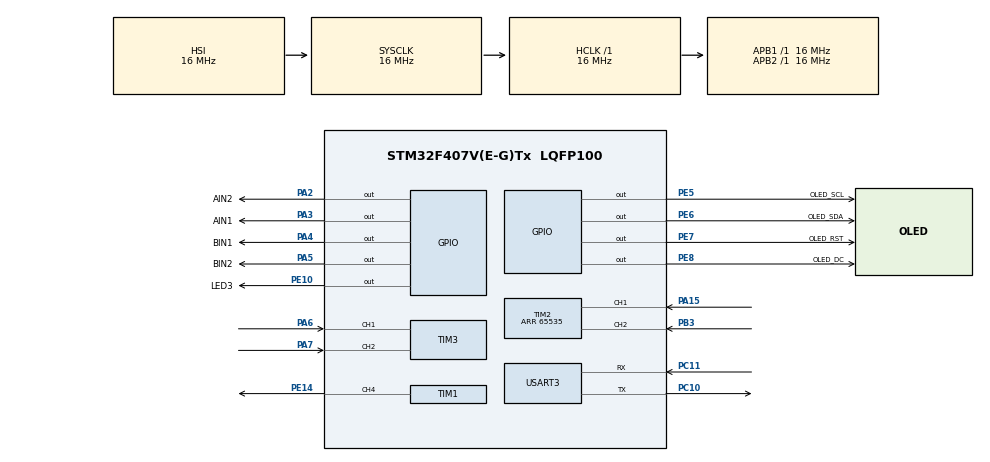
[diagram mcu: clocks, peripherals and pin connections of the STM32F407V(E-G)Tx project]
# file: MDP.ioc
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FREERTOS.Tasks01=defaultTask,24,128,StartDefaultTask,Default,NULL,Dynamic,NULL,NULL;show,8,128,showMsg,Default,NULL,Dynamic,NULL,NULL;MotorTask,8,128,motors,Default,NULL,Dynamic,NULL,NULL;EncoderTask,8,128,encoder,Default,NULL,Dynamic,NULL,NULL
Mcu.Family=STM32F4
Mcu.Name=STM32F407V(E-G)Tx
Mcu.Package=LQFP100
NVIC.PriorityGroup=NVIC_PRIORITYGROUP_4
NVIC.USART3_IRQn=true\:5\:0\:false\:false\:true\:true\:true\:true\:true
PA15.Signal=S_TIM2_CH1_ETR
PA2.GPIO_Label=AIN2
PA2.GPIO_Speed=GPIO_SPEED_FREQ_HIGH
PA2.Signal=GPIO_Output
PA3.GPIO_Label=AIN1
PA3.GPIO_Speed=GPIO_SPEED_FREQ_HIGH
PA3.Signal=GPIO_Output
PA4.GPIO_Label=BIN1
PA4.Signal=GPIO_Output
PA5.GPIO_Label=BIN2
PA5.Signal=GPIO_Output
PA6.Signal=S_TIM3_CH1
PA7.Signal=S_TIM3_CH2
PB3.Signal=S_TIM2_CH2
PC10.Mode=Asynchronous
PC10.Signal=USART3_TX
PC11.Mode=Asynchronous
PC11.Signal=USART3_RX
PC6.GPIO_Label=PWMA
PC6.Signal=S_TIM8_CH1
PC7.GPIO_Label=PWMB
PC7.Signal=S_TIM8_CH2
PE10.GPIO_Label=LED3
PE10.Signal=GPIO_Output
PE14.Signal=S_TIM1_CH4
PE5.GPIO_Label=OLED_SCL
PE5.Signal=GPIO_Output
PE6.GPIO_Label=OLED_SDA
PE6.Signal=GPIO_Output
PE7.GPIO_Label=OLED_RST
PE7.Signal=GPIO_Output
PE8.GPIO_Label=OLED_DC
PE8.Signal=GPIO_Output
ProjectManager.HeapSize=0x200
ProjectManager.StackSize=0x400
ProjectManager.TargetToolchain=STM32CubeIDE
RCC.AHBFreq_Value=16000000
RCC.APB1Freq_Value=16000000
RCC.APB2Freq_Value=16000000
RCC.CortexFreq_Value=16000000
RCC.HSE_VALUE=25000000
RCC.HSI_VALUE=16000000
RCC.LSE_VALUE=32768
RCC.SYSCLKFreq_VALUE=16000000
RCC.VCOOutputFreq_Value=192000000
SH.S_TIM1_CH4.0=TIM1_CH4,PWM Generation4 CH4
SH.S_TIM2_CH1_ETR.0=TIM2_CH1,Encoder_Interface
SH.S_TIM2_CH2.0=TIM2_CH2,Encoder_Interface
SH.S_TIM3_CH1.0=TIM3_CH1,Encoder_Interface
SH.S_TIM3_CH2.0=TIM3_CH2,Encoder_Interface
SH.S_TIM8_CH1.0=TIM8_CH1
SH.S_TIM8_CH2.0=TIM8_CH2
TIM1.Channel-PWM\ Generation4\ CH4=TIM_CHANNEL_4
TIM1.Period=1000
TIM1.Prescaler=160
TIM2.EncoderMode=TIM_ENCODERMODE_TI12
TIM2.IC1Filter=10
TIM2.Period=65535
TIM3.EncoderMode=TIM_ENCODERMODE_TI12
TIM3.IC1Filter=10
TIM3.IC2Filter=10
TIM8.Channel-PWM\ Generation1\ No\ Output=TIM_CHANNEL_1
TIM8.Channel-PWM\ Generation2\ No\ Output=TIM_CHANNEL_2
TIM8.Period=7199
USART3.VirtualMode=VM_ASYNC
VP_FREERTOS_VS_CMSIS_V2.Mode=CMSIS_V2
VP_TIM1_VS_ClockSourceINT.Mode=Internal
VP_TIM8_VS_ClockSourceINT.Mode=Internal
VP_TIM8_VS_no_output1.Mode=PWM Generation1 No Output
VP_TIM8_VS_no_output2.Mode=PWM Generation2 No Output
board=custom

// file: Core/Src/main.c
/* USER CODE BEGIN Header */
/**
  ******************************************************************************
  * @file           : main.c
  * @brief          : Main program body
  ******************************************************************************
  * @attention
  *
  * Copyright (c) 2024 STMicroelectronics.
  * All rights reserved.
  *
  * This software is licensed under terms that can be found in the LICENSE file
  * in the root directory of this software component.
  * If no LICENSE file comes with this software, it is provided AS-IS.
  *
  ******************************************************************************
  */
/* USER CODE END Header */
#include "main.h"
#include "cmsis_os.h"

/* USER CODE BEGIN Includes */
#include "oled.h"
/* USER CODE END Includes */

TIM_HandleTypeDef htim1;
TIM_HandleTypeDef htim2;
TIM_HandleTypeDef htim3;
TIM_HandleTypeDef htim8;

UART_HandleTypeDef huart3;

/* Definitions for defaultTask */
osThreadId_t defaultTaskHandle;
const osThreadAttr_t defaultTask_attributes = {
  .name = "defaultTask",
  .stack_size = 128 * 4,
  .priority = (osPriority_t) osPriorityNormal,
};
/* Definitions for show */
osThreadId_t showHandle;
const osThreadAttr_t show_attributes = {
  .name = "show",
  .stack_size = 128 * 4,
  .priority = (osPriority_t) osPriorityLow,
};
/* Definitions for MotorTask */
osThreadId_t MotorTaskHandle;
const osThreadAttr_t MotorTask_attributes = {
  .name = "MotorTask",
  .stack_size = 128 * 4,
  .priority = (osPriority_t) osPriorityLow,
};
/* Definitions for EncoderTask */
osThreadId_t EncoderTaskHandle;
const osThreadAttr_t EncoderTask_attributes = {
  .name = "EncoderTask",
  .stack_size = 128 * 4,
  .priority = (osPriority_t) osPriorityLow,
};

void SystemClock_Config(void);
static void MX_GPIO_Init(void);
static void MX_TIM8_Init(void);
static void MX_TIM2_Init(void);
static void MX_TIM3_Init(void);
static void MX_USART3_UART_Init(void);
static void MX_TIM1_Init(void);
void StartDefaultTask(void *argument);
void showMsg(void *argument);
void motors(void *argument);
void encoder(void *argument);

/* USER CODE BEGIN 0 */
uint8_t aRxBuffer[20];
/* USER CODE END 0 */

int main(void)
{

  /* MCU Configuration--------------------------------------------------------*/

  /* Reset of all peripherals, Initializes the Flash interface and the Systick. */
  HAL_Init();

  /* Configure the system clock */
  SystemClock_Config();

  /* Initialize all configured peripherals */
  MX_GPIO_Init();
  MX_TIM8_Init();
  MX_TIM2_Init();
  MX_TIM3_Init();
  MX_USART3_UART_Init();
  MX_TIM1_Init();
  /* USER CODE BEGIN 2 */
  OLED_Init();

  HAL_UART_Receive_IT(&huart3, (uint8_t *)aRxBuffer, 10);
  //HAL_UART_Transmit_IT(&huart3, (uint8_t *)aRxBuffer, 10);
  /* USER CODE END 2 */

  /* Init scheduler */
  osKernelInitialize();

  /* Create the thread(s) */
  /* creation of defaultTask */
  defaultTaskHandle = osThreadNew(StartDefaultTask, NULL, &defaultTask_attributes);

  /* creation of show */
  showHandle = osThreadNew(showMsg, NULL, &show_attributes);

  /* creation of MotorTask */
  MotorTaskHandle = osThreadNew(motors, NULL, &MotorTask_attributes);

  /* creation of EncoderTask */
  EncoderTaskHandle = osThreadNew(encoder, NULL, &EncoderTask_attributes);

  /* Start scheduler */
  osKernelStart();

  /* We should never get here as control is now taken by the scheduler */
  /* Infinite loop */
  while (1)
  {

  }
}

void SystemClock_Config(void)
{
  RCC_OscInitTypeDef RCC_OscInitStruct = {0};
  RCC_ClkInitTypeDef RCC_ClkInitStruct = {0};

  /** Configure the main internal regulator output voltage
  */
  __HAL_RCC_PWR_CLK_ENABLE();
  __HAL_PWR_VOLTAGESCALING_CONFIG(PWR_REGULATOR_VOLTAGE_SCALE1);

  /** Initializes the RCC Oscillators according to the specified parameters
  * in the RCC_OscInitTypeDef structure.
  */
  RCC_OscInitStruct.OscillatorType = RCC_OSCILLATORTYPE_HSI;
  RCC_OscInitStruct.HSIState = RCC_HSI_ON;
  RCC_OscInitStruct.HSICalibrationValue = RCC_HSICALIBRATION_DEFAULT;
  RCC_OscInitStruct.PLL.PLLState = RCC_PLL_NONE;
  if (HAL_RCC_OscConfig(&RCC_OscInitStruct) != HAL_OK)
  {
    Error_Handler();
  }

  /** Initializes the CPU, AHB and APB buses clocks
  */
  RCC_ClkInitStruct.ClockType = RCC_CLOCKTYPE_HCLK|RCC_CLOCKTYPE_SYSCLK
                              |RCC_CLOCKTYPE_PCLK1|RCC_CLOCKTYPE_PCLK2;
  RCC_ClkInitStruct.SYSCLKSource = RCC_SYSCLKSOURCE_HSI;
  RCC_ClkInitStruct.AHBCLKDivider = RCC_SYSCLK_DIV1;
  RCC_ClkInitStruct.APB1CLKDivider = RCC_HCLK_DIV1;
  RCC_ClkInitStruct.APB2CLKDivider = RCC_HCLK_DIV1;

  if (HAL_RCC_ClockConfig(&RCC_ClkInitStruct, FLASH_LATENCY_0) != HAL_OK)
  {
    Error_Handler();
  }
}

static void MX_TIM1_Init(void)
{

  TIM_ClockConfigTypeDef sClockSourceConfig = {0};
  TIM_MasterConfigTypeDef sMasterConfig = {0};
  TIM_OC_InitTypeDef sConfigOC = {0};
  TIM_BreakDeadTimeConfigTypeDef sBreakDeadTimeConfig = {0};

  htim1.Instance = TIM1;
  htim1.Init.Prescaler = 160;
  htim1.Init.CounterMode = TIM_COUNTERMODE_UP;
  htim1.Init.Period = 1000;
  htim1.Init.ClockDivision = TIM_CLOCKDIVISION_DIV1;
  htim1.Init.RepetitionCounter = 0;
  htim1.Init.AutoReloadPreload = TIM_AUTORELOAD_PRELOAD_DISABLE;
  if (HAL_TIM_Base_Init(&htim1) != HAL_OK)
  {
    Error_Handler();
  }
  sClockSourceConfig.ClockSource = TIM_CLOCKSOURCE_INTERNAL;
  if (HAL_TIM_ConfigClockSource(&htim1, &sClockSourceConfig) != HAL_OK)
  {
    Error_Handler();
  }
  if (HAL_TIM_PWM_Init(&htim1) != HAL_OK)
  {
    Error_Handler();
  }
  sMasterConfig.MasterOutputTrigger = TIM_TRGO_RESET;
  sMasterConfig.MasterSlaveMode = TIM_MASTERSLAVEMODE_DISABLE;
  if (HAL_TIMEx_MasterConfigSynchronization(&htim1, &sMasterConfig) != HAL_OK)
  {
    Error_Handler();
  }
  sConfigOC.OCMode = TIM_OCMODE_PWM1;
  sConfigOC.Pulse = 0;
  sConfigOC.OCPolarity = TIM_OCPOLARITY_HIGH;
  sConfigOC.OCFastMode = TIM_OCFAST_DISABLE;
  sConfigOC.OCIdleState = TIM_OCIDLESTATE_RESET;
  sConfigOC.OCNIdleState = TIM_OCNIDLESTATE_RESET;
  if (HAL_TIM_PWM_ConfigChannel(&htim1, &sConfigOC, TIM_CHANNEL_4) != HAL_OK)
  {
    Error_Handler();
  }
  sBreakDeadTimeConfig.OffStateRunMode = TIM_OSSR_DISABLE;
  sBreakDeadTimeConfig.OffStateIDLEMode = TIM_OSSI_DISABLE;
  sBreakDeadTimeConfig.LockLevel = TIM_LOCKLEVEL_OFF;
  sBreakDeadTimeConfig.DeadTime = 0;
  sBreakDeadTimeConfig.BreakState = TIM_BREAK_DISABLE;
  sBreakDeadTimeConfig.BreakPolarity = TIM_BREAKPOLARITY_HIGH;
  sBreakDeadTimeConfig.AutomaticOutput = TIM_AUTOMATICOUTPUT_DISABLE;
  if (HAL_TIMEx_ConfigBreakDeadTime(&htim1, &sBreakDeadTimeConfig) != HAL_OK)
  {
    Error_Handler();
  }
  HAL_TIM_MspPostInit(&htim1);

}

static void MX_TIM2_Init(void)
{

  TIM_Encoder_InitTypeDef sConfig = {0};
  TIM_MasterConfigTypeDef sMasterConfig = {0};

  htim2.Instance = TIM2;
  htim2.Init.Prescaler = 0;
  htim2.Init.CounterMode = TIM_COUNTERMODE_UP;
  htim2.Init.Period = 65535;
  htim2.Init.ClockDivision = TIM_CLOCKDIVISION_DIV1;
  htim2.Init.AutoReloadPreload = TIM_AUTORELOAD_PRELOAD_DISABLE;
  sConfig.EncoderMode = TIM_ENCODERMODE_TI12;
  sConfig.IC1Polarity = TIM_ICPOLARITY_RISING;
  sConfig.IC1Selection = TIM_ICSELECTION_DIRECTTI;
  sConfig.IC1Prescaler = TIM_ICPSC_DIV1;
  sConfig.IC1Filter = 10;
  sConfig.IC2Polarity = TIM_ICPOLARITY_RISING;
  sConfig.IC2Selection = TIM_ICSELECTION_DIRECTTI;
  sConfig.IC2Prescaler = TIM_ICPSC_DIV1;
  sConfig.IC2Filter = 0;
  if (HAL_TIM_Encoder_Init(&htim2, &sConfig) != HAL_OK)
  {
    Error_Handler();
  }
  sMasterConfig.MasterOutputTrigger = TIM_TRGO_RESET;
  sMasterConfig.MasterSlaveMode = TIM_MASTERSLAVEMODE_DISABLE;
  if (HAL_TIMEx_MasterConfigSynchronization(&htim2, &sMasterConfig) != HAL_OK)
  {
    Error_Handler();
  }

}

static void MX_TIM3_Init(void)
{

  TIM_Encoder_InitTypeDef sConfig = {0};
  TIM_MasterConfigTypeDef sMasterConfig = {0};

  htim3.Instance = TIM3;
  htim3.Init.Prescaler = 0;
  htim3.Init.CounterMode = TIM_COUNTERMODE_UP;
  htim3.Init.Period = 65535;
  htim3.Init.ClockDivision = TIM_CLOCKDIVISION_DIV1;
  htim3.Init.AutoReloadPreload = TIM_AUTORELOAD_PRELOAD_DISABLE;
  sConfig.EncoderMode = TIM_ENCODERMODE_TI12;
  sConfig.IC1Polarity = TIM_ICPOLARITY_RISING;
  sConfig.IC1Selection = TIM_ICSELECTION_DIRECTTI;
  sConfig.IC1Prescaler = TIM_ICPSC_DIV1;
  sConfig.IC1Filter = 10;
  sConfig.IC2Polarity = TIM_ICPOLARITY_RISING;
  sConfig.IC2Selection = TIM_ICSELECTION_DIRECTTI;
  sConfig.IC2Prescaler = TIM_ICPSC_DIV1;
  sConfig.IC2Filter = 10;
  if (HAL_TIM_Encoder_Init(&htim3, &sConfig) != HAL_OK)
  {
    Error_Handler();
  }
  sMasterConfig.MasterOutputTrigger = TIM_TRGO_RESET;
  sMasterConfig.MasterSlaveMode = TIM_MASTERSLAVEMODE_DISABLE;
  if (HAL_TIMEx_MasterConfigSynchronization(&htim3, &sMasterConfig) != HAL_OK)
  {
    Error_Handler();
  }

}

static void MX_TIM8_Init(void)
{

  TIM_ClockConfigTypeDef sClockSourceConfig = {0};
  TIM_MasterConfigTypeDef sMasterConfig = {0};
  TIM_OC_InitTypeDef sConfigOC = {0};
  TIM_BreakDeadTimeConfigTypeDef sBreakDeadTimeConfig = {0};

  htim8.Instance = TIM8;
  htim8.Init.Prescaler = 0;
  htim8.Init.CounterMode = TIM_COUNTERMODE_UP;
  htim8.Init.Period = 7199;
  htim8.Init.ClockDivision = TIM_CLOCKDIVISION_DIV1;
  htim8.Init.RepetitionCounter = 0;
  htim8.Init.AutoReloadPreload = TIM_AUTORELOAD_PRELOAD_DISABLE;
  if (HAL_TIM_Base_Init(&htim8) != HAL_OK)
  {
    Error_Handler();
  }
  sClockSourceConfig.ClockSource = TIM_CLOCKSOURCE_INTERNAL;
  if (HAL_TIM_ConfigClockSource(&htim8, &sClockSourceConfig) != HAL_OK)
  {
    Error_Handler();
  }
  if (HAL_TIM_PWM_Init(&htim8) != HAL_OK)
  {
    Error_Handler();
  }
  sMasterConfig.MasterOutputTrigger = TIM_TRGO_RESET;
  sMasterConfig.MasterSlaveMode = TIM_MASTERSLAVEMODE_DISABLE;
  if (HAL_TIMEx_MasterConfigSynchronization(&htim8, &sMasterConfig) != HAL_OK)
  {
    Error_Handler();
  }
  sConfigOC.OCMode = TIM_OCMODE_PWM1;
  sConfigOC.Pulse = 0;
  sConfigOC.OCPolarity = TIM_OCPOLARITY_HIGH;
  sConfigOC.OCNPolarity = TIM_OCNPOLARITY_HIGH;
  sConfigOC.OCFastMode = TIM_OCFAST_DISABLE;
  sConfigOC.OCIdleState = TIM_OCIDLESTATE_RESET;
  sConfigOC.OCNIdleState = TIM_OCNIDLESTATE_RESET;
  if (HAL_TIM_PWM_ConfigChannel(&htim8, &sConfigOC, TIM_CHANNEL_1) != HAL_OK)
  {
    Error_Handler();
  }
  if (HAL_TIM_PWM_ConfigChannel(&htim8, &sConfigOC, TIM_CHANNEL_2) != HAL_OK)
  {
    Error_Handler();
  }
  sBreakDeadTimeConfig.OffStateRunMode = TIM_OSSR_DISABLE;
  sBreakDeadTimeConfig.OffStateIDLEMode = TIM_OSSI_DISABLE;
  sBreakDeadTimeConfig.LockLevel = TIM_LOCKLEVEL_OFF;
  sBreakDeadTimeConfig.DeadTime = 0;
  sBreakDeadTimeConfig.BreakState = TIM_BREAK_DISABLE;
  sBreakDeadTimeConfig.BreakPolarity = TIM_BREAKPOLARITY_HIGH;
  sBreakDeadTimeConfig.AutomaticOutput = TIM_AUTOMATICOUTPUT_DISABLE;
  if (HAL_TIMEx_ConfigBreakDeadTime(&htim8, &sBreakDeadTimeConfig) != HAL_OK)
  {
    Error_Handler();
  }

}

static void MX_USART3_UART_Init(void)
{

  huart3.Instance = USART3;
  huart3.Init.BaudRate = 115200;
  huart3.Init.WordLength = UART_WORDLENGTH_8B;
  huart3.Init.StopBits = UART_STOPBITS_1;
  huart3.Init.Parity = UART_PARITY_NONE;
  huart3.Init.Mode = UART_MODE_TX_RX;
  huart3.Init.HwFlowCtl = UART_HWCONTROL_NONE;
  huart3.Init.OverSampling = UART_OVERSAMPLING_16;
  if (HAL_UART_Init(&huart3) != HAL_OK)
  {
    Error_Handler();
  }

}

static void MX_GPIO_Init(void)
{
  GPIO_InitTypeDef GPIO_InitStruct = {0};

  /* GPIO Ports Clock Enable */
  __HAL_RCC_GPIOE_CLK_ENABLE();
  __HAL_RCC_GPIOA_CLK_ENABLE();
  __HAL_RCC_GPIOC_CLK_ENABLE();
  __HAL_RCC_GPIOB_CLK_ENABLE();

  /*Configure GPIO pin Output Level */
  HAL_GPIO_WritePin(GPIOE, OLED_SCL_Pin|OLED_SDA_Pin|OLED_RST_Pin|OLED_DC_Pin
                          |LED3_Pin, GPIO_PIN_RESET);

  /*Configure GPIO pin Output Level */
  HAL_GPIO_WritePin(GPIOA, AIN2_Pin|AIN1_Pin|BIN1_Pin|BIN2_Pin, GPIO_PIN_RESET);

  /*Configure GPIO pins : OLED_SCL_Pin OLED_SDA_Pin OLED_RST_Pin OLED_DC_Pin
                           LED3_Pin */
  GPIO_InitStruct.Pin = OLED_SCL_Pin|OLED_SDA_Pin|OLED_RST_Pin|OLED_DC_Pin
                          |LED3_Pin;
  GPIO_InitStruct.Mode = GPIO_MODE_OUTPUT_PP;
  GPIO_InitStruct.Pull = GPIO_NOPULL;
  GPIO_InitStruct.Speed = GPIO_SPEED_FREQ_LOW;
  HAL_GPIO_Init(GPIOE, &GPIO_InitStruct);

  /*Configure GPIO pins : AIN2_Pin AIN1_Pin */
  GPIO_InitStruct.Pin = AIN2_Pin|AIN1_Pin;
  GPIO_InitStruct.Mode = GPIO_MODE_OUTPUT_PP;
  GPIO_InitStruct.Pull = GPIO_NOPULL;
  GPIO_InitStruct.Speed = GPIO_SPEED_FREQ_HIGH;
  HAL_GPIO_Init(GPIOA, &GPIO_InitStruct);

  /*Configure GPIO pins : BIN1_Pin BIN2_Pin */
  GPIO_InitStruct.Pin = BIN1_Pin|BIN2_Pin;
  GPIO_InitStruct.Mode = GPIO_MODE_OUTPUT_PP;
  GPIO_InitStruct.Pull = GPIO_NOPULL;
  GPIO_InitStruct.Speed = GPIO_SPEED_FREQ_LOW;
  HAL_GPIO_Init(GPIOA, &GPIO_InitStruct);

}

/* USER CODE BEGIN 4 */
void HAL_UART_RxCpltCallback(UART_HandleTypeDef *huart){

	UNUSED(huart);

	//enqueue(&q,aRxBuffer);

	HAL_UART_Transmit(&huart3,(uint8_t *) aRxBuffer,10,0xFFFF);
	HAL_GPIO_TogglePin(LED3_GPIO_Port, LED3_Pin);
}
/* USER CODE END 4 */

void StartDefaultTask(void *argument)
{
  /* USER CODE BEGIN 5 */
  /* Infinite loop */
  uint8_t ch = 'A';
  for(;;)
  {
	HAL_UART_Transmit(&huart3, (uint8_t *)&ch,1, 0xFFFF);
	if(ch<'Z')
		ch++;
	else ch = 'A';

	HAL_GPIO_TogglePin(LED3_GPIO_Port, LED3_Pin);
	osDelay(1000);
  }
  /* USER CODE END 5 */
}

void showMsg(void *argument)
{
  /* USER CODE BEGIN showMsg */
  uint8_t test[20] = "testing\0";

  /* Infinite loop */
  for(;;)
  {
   sprintf(test, "%s\0", aRxBuffer);
   OLED_ShowString(10,20,test);
   OLED_Refresh_Gram();
   osDelay(1000);
  }
  /* USER CODE END showMsg */
}

void motors(void *argument)
{
  /* USER CODE BEGIN motors */
  /* Infinite loop */
  uint16_t pwmVal = 0;
  HAL_TIM_PWM_Start(&htim8, TIM_CHANNEL_1);
  HAL_TIM_PWM_Start(&htim8, TIM_CHANNEL_2);

  for(;;)
  {
	//clockwise
	while (pwmVal<4000){
	  	HAL_GPIO_WritePin(GPIOA, AIN2_Pin,  GPIO_PIN_SET);
	  	HAL_GPIO_WritePin(GPIOA, AIN1_Pin, GPIO_PIN_RESET);
	  	HAL_GPIO_WritePin(GPIOA, BIN2_Pin, GPIO_PIN_SET);
	  	HAL_GPIO_WritePin(GPIOA, BIN1_Pin, GPIO_PIN_RESET);
	  	pwmVal++;
	  	__HAL_TIM_SetCompare(&htim8, TIM_CHANNEL_1, pwmVal);
	  	__HAL_TIM_SetCompare(&htim8, TIM_CHANNEL_2, pwmVal);
	    osDelay(10);
	}
	//anti-clockwise
	while(pwmVal>0){
		HAL_GPIO_WritePin(GPIOA, AIN2_Pin, GPIO_PIN_RESET);
		HAL_GPIO_WritePin(GPIOA, AIN1_Pin, GPIO_PIN_SET);
		HAL_GPIO_WritePin(GPIOA, BIN2_Pin, GPIO_PIN_RESET);
		HAL_GPIO_WritePin(GPIOA, BIN1_Pin, GPIO_PIN_SET);
		pwmVal--;
		__HAL_TIM_SetCompare(&htim8, TIM_CHANNEL_1, pwmVal);
		__HAL_TIM_SetCompare(&htim8, TIM_CHANNEL_2, pwmVal);
		osDelay(10);
	}
    osDelay(1);
  }
  /* USER CODE END motors */
}

void encoder(void *argument)
{
  /* USER CODE BEGIN encoder */
  /* Infinite loop */

  //Initializes Timer 2 to start counting pulses from encoder on input channels
  HAL_TIM_Encoder_Start(&htim2, TIM_CHANNEL_ALL);
  HAL_TIM_Encoder_Start(&htim3,TIM_CHANNEL_ALL);

  //Store encoder counts at different times
  int cnt1, cnt2;
  int cnt3, cnt4;
  //hold difference in encoder counts, used to calculate speed
  int diffa, diffb;
  //store timestamp for timing purpose
  uint32_t tick;
  //format strings for OLED
  uint8_t msg[20];
  //store direction of encoder movement (down/up counting)
  uint16_t dir;

  //adds to motor pwm for straight movement
  int encoder_offset = 0;
  //current error value for encoder
  int encoder_error = 0;
  //used for distance estimation
  uint32_t encoder_dist = 0;

  //fetch current encoder count from rising edge of the clock
  cnt1 = __HAL_TIM_GET_COUNTER(&htim2);
  cnt3 = __HAL_TIM_GET_COUNTER(&htim3);

  //obtain current system time in ms
  tick = HAL_GetTick();

  //checks encoder's position and calculating speed based on position change over time
  for(;;)
  {
		if(HAL_GetTick()-tick > 1000L){

		cnt2 = __HAL_TIM_GET_COUNTER(&htim2);
		cnt4 = __HAL_TIM_GET_COUNTER(&htim3);

		//determine if encoder is moving forward or backwards
		if (__HAL_TIM_IS_TIM_COUNTING_DOWN(&htim2)) {
		    if (cnt2 < cnt1) {
		        diffa = cnt1 - cnt2;
		    } else {
		    	//accounts for overflow/underflow
		        diffa = (65535 - cnt2) + cnt1;
		    }
		}

		else {
		    if (cnt2 > cnt1) {
		        diffa = cnt2 - cnt1;
		    } else {
		        diffa = (65535 - cnt1) + cnt2;
		    }
		}

		if (__HAL_TIM_IS_TIM_COUNTING_DOWN(&htim3)) {
		    if (cnt4 < cnt3) {
		        diffb = cnt3 - cnt4;
		    } else {
		        diffb = (65535 - cnt4) + cnt3;
		    }
		}

		else {
		    if (cnt4 > cnt3) {
		        diffb = cnt4 - cnt3;
		    } else {
		        diffb = (65535 - cnt3) + cnt4;
		    }
		}

		sprintf(msg, "Speed:%5d\0", diffa);
		OLED_ShowString(10,30,msg);
		cnt3 = __HAL_TIM_GET_COUNTER(&htim3);
		//dir = __HAL_TIM_IS_TIM_COUNTING_DOWN(&htim2);

		sprintf(msg, "Speed:%5d\0", diffb);
		OLED_ShowString(10,40,msg);
		cnt1 = __HAL_TIM_GET_COUNTER(&htim2);

		tick = HAL_GetTick();
	}
  }
  /* USER CODE END encoder */
}

void Error_Handler(void)
{
  __disable_irq();
  while (1)
  {
  }
}
